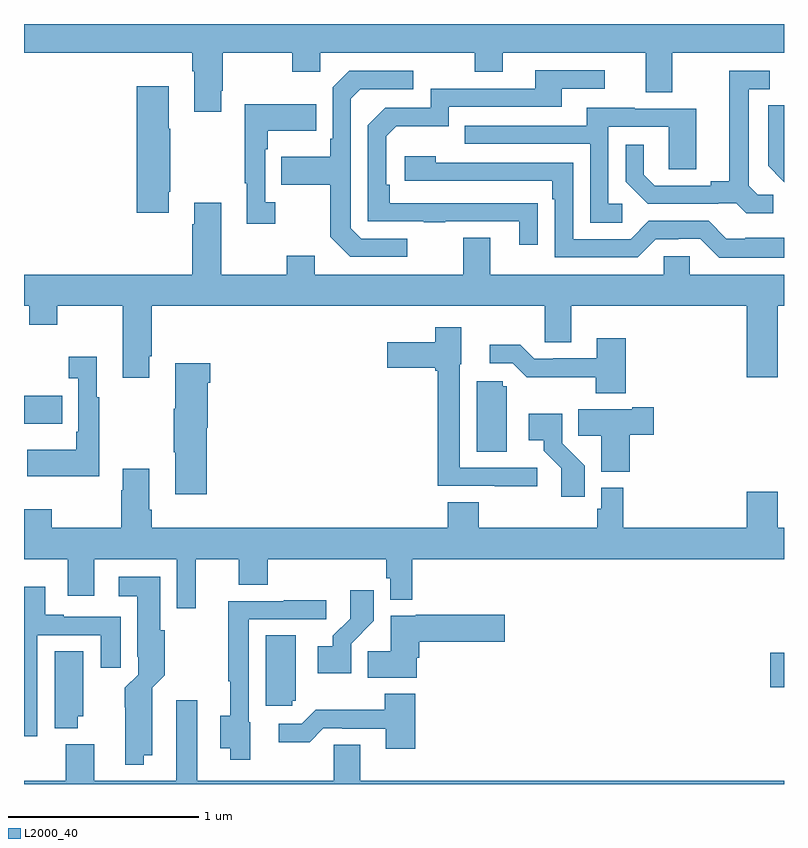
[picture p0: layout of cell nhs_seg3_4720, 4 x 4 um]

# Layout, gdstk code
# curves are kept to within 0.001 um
import gdstk
lib = gdstk.Library(unit=1e-6, precision=1e-09)
def R(c, l, rs):  # rectangles x0, y0, x1, y1
    for r in rs: c.add(gdstk.rectangle(r[:2], r[2:], *l))
def P(c, l, *ps):  # polygons
    for p in ps: c.add(gdstk.Polygon(p, *l))
L2000_40 = (2000, 40)

nhs_seg3_4720 = lib.new_cell('nhs_seg3_4720')
R(nhs_seg3_4720, L2000_40, [(368.928,698.909,369,699.092), (365,700.295,365.201,700.443)])
P(nhs_seg3_4720, L2000_40, [(366.037,702.049),(366.045,702.049),(366.045,702.248),(366.412,702.248),(366.412,702.149),(366.558,702.149),(366.558,702.248),(367.372,702.248),(367.372,702.149),(367.519,702.149),(367.519,702.248),(368.273,702.248),(368.273,702.04),(368.413,702.04),(368.413,702.248),(369,702.248),(369,702.4),(365,702.4),(365,702.248),(365.885,702.248),(365.885,702.152),(365.897,702.152),(365.897,701.937),(366.037,701.937)],
  [(367.703,701.456),(366.926,701.457),(366.926,701.554),(366.906,701.554),(366.906,701.808),(366.959,701.861),(367.236,701.861),(367.236,701.964),(367.831,701.964),(367.831,702.06),(368.056,702.06),(368.056,702.156),(367.691,702.156),(367.691,702.06),(367.14,702.06),(367.14,701.958),(366.9,701.958),(366.81,701.868),(366.81,701.361),(367.105,701.361),(367.105,701.356),(367.217,701.356),(367.217,701.361),(367.607,701.361),(367.607,701.238),(367.703,701.238)],
  [(367.018,701.271),(366.774,701.271),(366.72,701.325),(366.72,702.006),(366.771,702.057),(367.048,702.057),(367.048,702.153),(366.711,702.153),(366.624,702.066),(366.624,701.797),(366.612,701.797),(366.612,701.701),(366.355,701.701),(366.355,701.554),(366.612,701.554),(366.612,701.281),(366.717,701.175),(367.018,701.175)],
  [(368.944,701.502),(368.862,701.502),(368.815,701.549),(368.815,702.057),(368.926,702.057),(368.926,702.153),(368.711,702.153),(368.711,701.573),(368.615,701.573),(368.615,701.55),(368.32,701.55),(368.263,701.607),(368.263,701.764),(368.166,701.764),(368.166,701.57),(368.282,701.454),(368.654,701.454),(368.654,701.457),(368.748,701.457),(368.8,701.405),(368.944,701.405)],
  [(365.761,701.518),(365.769,701.518),(365.769,701.849),(365.761,701.849),(365.761,702.073),(365.594,702.073),(365.594,701.406),(365.761,701.406)],
  [(366.322,701.462),(366.27,701.462),(366.27,701.741),(366.283,701.741),(366.283,701.837),(366.539,701.837),(366.539,701.977),(366.162,701.977),(366.162,701.561),(366.173,701.561),(366.173,701.349),(366.322,701.349)],
  [(369,701.972),(368.916,701.972),(368.916,701.654),(368.989,701.581),(368.988,701.58),(369,701.568)],
  [(368.149,701.454),(368.076,701.454),(368.076,701.859),(368.394,701.859),(368.394,701.635),(368.539,701.635),(368.539,701.955),(368.215,701.955),(368.215,701.959),(367.961,701.959),(367.961,701.865),(367.321,701.865),(367.321,701.769),(367.98,701.769),(367.98,701.353),(368.149,701.353)],
  [(369,701.275),(368.797,701.275),(368.797,701.271),(368.697,701.271),(368.604,701.364),(368.289,701.364),(368.193,701.268),(367.89,701.268),(367.89,701.67),(367.166,701.67),(367.166,701.704),(367.005,701.704),(367.005,701.574),(367.781,701.574),(367.781,701.477),(367.794,701.477),(367.794,701.172),(368.229,701.172),(368.325,701.268),(368.444,701.268),(368.444,701.271),(368.559,701.271),(368.659,701.171),(369,701.171)],
  [(365.659,700.651),(365.672,700.651),(365.672,700.916),(367.74,700.916),(367.74,700.726),(367.879,700.726),(367.879,700.916),(368.804,700.916),(368.804,700.542),(368.968,700.542),(368.968,700.916),(369,700.916),(369,701.08),(368.505,701.08),(368.505,701.178),(368.367,701.178),(368.367,701.08),(367.453,701.08),(367.453,701.275),(367.313,701.275),(367.313,701.08),(366.529,701.08),(366.529,701.179),(366.382,701.179),(366.382,701.08),(366.037,701.08),(366.037,701.458),(365.897,701.458),(365.897,701.345),(365.885,701.345),(365.885,701.08),(365,701.08),(365,700.916),(365.027,700.916),(365.027,700.817),(365.175,700.817),(365.175,700.916),(365.519,700.916),(365.519,700.539),(365.659,700.539)],
  [(367.702,700.065),(367.293,700.065),(367.293,700.608),(367.3,700.608),(367.3,700.804),(367.164,700.804),(367.164,700.726),(366.912,700.726),(366.912,700.592),(367.164,700.592),(367.164,700.574),(367.177,700.574),(367.177,699.969),(367.477,699.969),(367.477,699.967),(367.702,699.967)],
  [(368.167,700.747),(368.015,700.747),(368.015,700.641),(367.786,700.641),(367.786,700.638),(367.686,700.638),(367.613,700.711),(367.452,700.711),(367.452,700.614),(367.572,700.614),(367.645,700.541),(368.008,700.542),(368.008,700.457),(368.167,700.457)],
  [(365.395,700.435),(365.383,700.435),(365.383,700.648),(365.235,700.648),(365.235,700.535),(365.286,700.535),(365.286,700.255),(365.274,700.255),(365.274,700.159),(365.017,700.159),(365.017,700.019),(365.395,700.019)],
  [(365.963,700.275),(365.968,700.275),(365.968,700.511),(365.981,700.511),(365.981,700.615),(365.795,700.615),(365.795,700.375),(365.788,700.375),(365.788,700.147),(365.795,700.147),(365.795,699.924),(365.963,699.924)],
  [(367.54,700.494),(367.521,700.494),(367.521,700.521),(367.382,700.521),(367.382,700.15),(367.54,700.15)],
  [(368.189,700.238),(368.314,700.238),(368.314,700.384),(368.201,700.384),(368.201,700.372),(367.918,700.372),(367.918,700.234),(368.039,700.234),(368.039,700.043),(368.189,700.043)],
  [(367.952,700.074),(367.833,700.193),(367.833,700.348),(367.656,700.348),(367.656,700.208),(367.736,700.208),(367.736,700.153),(367.827,700.063),(367.827,699.912),(367.952,699.912)],
  [(365.805,699.324),(365.904,699.324),(365.904,699.584),(366.131,699.584),(366.131,699.448),(366.284,699.448),(366.284,699.584),(366.907,699.584),(366.907,699.483),(366.927,699.483),(366.927,699.371),(367.043,699.371),(367.043,699.584),(369,699.584),(369,699.748),(368.968,699.748),(368.968,699.937),(368.804,699.937),(368.804,699.748),(368.153,699.748),(368.153,699.958),(368.037,699.958),(368.037,699.849),(368.017,699.849),(368.017,699.748),(367.394,699.748),(367.394,699.884),(367.229,699.884),(367.229,699.748),(365.672,699.748),(365.672,699.844),(365.659,699.844),(365.659,700.06),(365.519,700.06),(365.519,699.947),(365.512,699.947),(365.512,699.748),(365.145,699.748),(365.145,699.847),(365,699.847),(365,699.584),(365.231,699.584),(365.231,699.39),(365.371,699.39),(365.371,699.584),(365.805,699.584)],
  [(365.629,698.552),(365.674,698.552),(365.675,698.906),(365.742,698.973),(365.742,699.21),(365.716,699.21),(365.716,699.49),(365.499,699.49),(365.499,699.389),(365.597,699.389),(365.597,699.07),(365.601,699.07),(365.601,698.976),(365.531,698.906),(365.532,698.501),(365.629,698.501)],
  [(365.071,699.183),(365.405,699.183),(365.405,699.012),(365.509,699.012),(365.509,699.279),(365.209,699.279),(365.209,699.292),(365.113,699.292),(365.113,699.439),(365,699.439),(365,698.652),(365.071,698.652)],
  [(366.723,699.139),(366.842,699.258),(366.842,699.421),(366.717,699.421),(366.717,699.269),(366.626,699.179),(366.626,699.124),(366.546,699.124),(366.546,698.984),(366.723,698.984)],
  [(366.19,698.724),(366.183,698.724),(366.183,699.267),(366.592,699.267),(366.592,699.366),(366.367,699.366),(366.367,699.363),(366.075,699.363),(366.075,698.942),(366.086,698.942),(366.086,698.759),(366.032,698.759),(366.032,698.588),(366.086,698.588),(366.086,698.528),(366.19,698.528)],
  [(367.066,699.065),(367.079,699.065),(367.079,699.149),(367.531,699.149),(367.531,699.291),(367.062,699.291),(367.062,699.286),(366.929,699.286),(366.929,699.098),(366.808,699.098),(366.808,698.96),(367.066,698.96)],
  [(366.411,698.838),(366.43,698.838),(366.43,699.182),(366.272,699.182),(366.272,698.811),(366.411,698.811)],
  [(365.284,698.757),(365.311,698.757),(365.311,699.098),(365.162,699.098),(365.162,698.693),(365.284,698.693)],
  [(367.058,698.875),(366.898,698.875),(366.898,698.791),(366.535,698.791),(366.462,698.718),(366.342,698.718),(366.342,698.621),(366.503,698.621),(366.576,698.694),(366.676,698.694),(366.676,698.691),(366.905,698.691),(366.905,698.586),(367.058,698.586)],
  [(369,698.416),(366.769,698.416),(366.769,698.606),(366.63,698.606),(366.63,698.416),(365.911,698.416),(365.911,698.842),(365.801,698.842),(365.801,698.416),(365.371,698.416),(365.371,698.608),(365.219,698.608),(365.219,698.416),(365,698.416),(365,698.4),(369,698.4)])

lib.write_gds('nhs_seg3_4720.gds')
